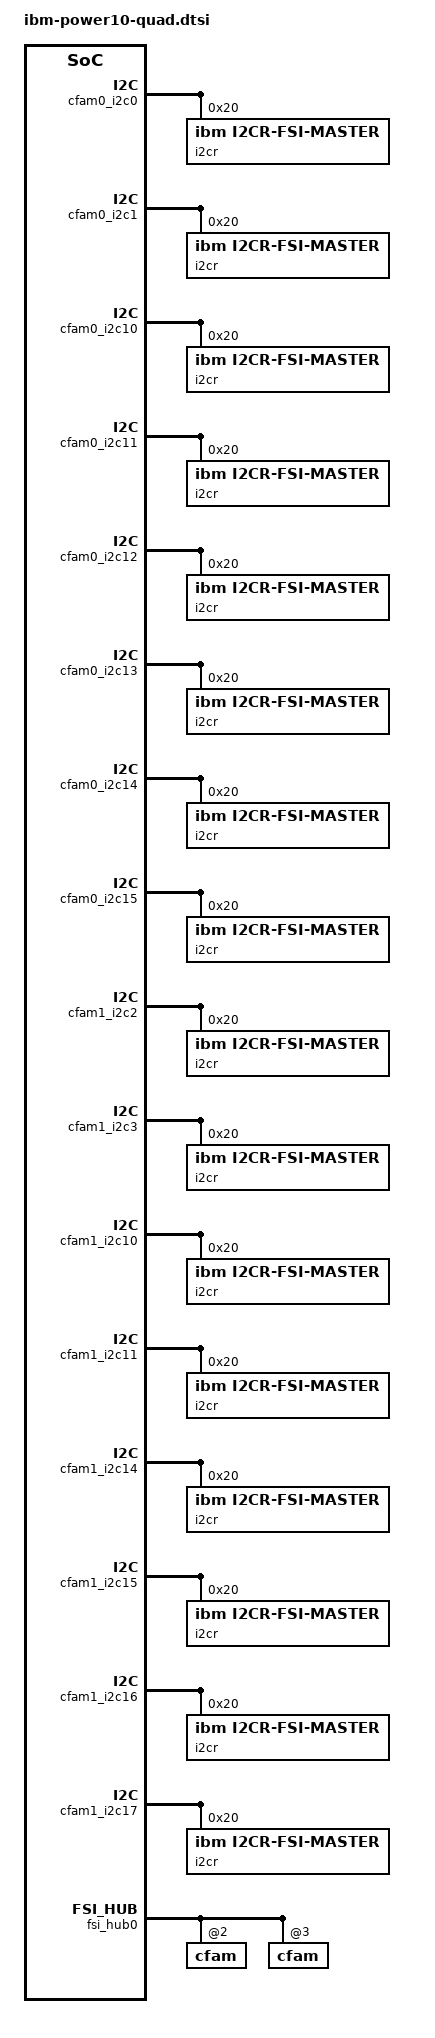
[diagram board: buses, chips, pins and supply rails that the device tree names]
// SPDX-License-Identifier: GPL-2.0-or-later
// Copyright 2023 IBM Corp.

#include "ibm-power10-dual.dtsi"

&cfam0_i2c0 {
	i2cr@20 {
		compatible = "ibm,i2cr-fsi-master";
		reg = <0x20>;
		#address-cells = <2>;
		#size-cells = <0>;

		cfam@0,0 {
			reg = <0 0>;
			#address-cells = <1>;
			#size-cells = <1>;
			chip-id = <0>;

			scom100: scom@1000 {
				compatible = "ibm,i2cr-scom";
				reg = <0x1000 0x400>;
			};

			sbefifo100: sbefifo@2400 {
				compatible = "ibm,p9-sbefifo";
				reg = <0x2400 0x400>;
				#address-cells = <1>;
				#size-cells = <0>;
			};
		};
	};
};

&cfam0_i2c1 {
	i2cr@20 {
		compatible = "ibm,i2cr-fsi-master";
		reg = <0x20>;
		#address-cells = <2>;
		#size-cells = <0>;

		cfam@0,0 {
			reg = <0 0>;
			#address-cells = <1>;
			#size-cells = <1>;
			chip-id = <0>;

			scom101: scom@1000 {
				compatible = "ibm,i2cr-scom";
				reg = <0x1000 0x400>;
			};

			sbefifo101: sbefifo@2400 {
				compatible = "ibm,p9-sbefifo";
				reg = <0x2400 0x400>;
				#address-cells = <1>;
				#size-cells = <0>;
			};
		};
	};
};

&cfam0_i2c10 {
	i2cr@20 {
		compatible = "ibm,i2cr-fsi-master";
		reg = <0x20>;
		#address-cells = <2>;
		#size-cells = <0>;

		cfam@0,0 {
			reg = <0 0>;
			#address-cells = <1>;
			#size-cells = <1>;
			chip-id = <0>;

			scom110: scom@1000 {
				compatible = "ibm,i2cr-scom";
				reg = <0x1000 0x400>;
			};

			sbefifo110: sbefifo@2400 {
				compatible = "ibm,p9-sbefifo";
				reg = <0x2400 0x400>;
				#address-cells = <1>;
				#size-cells = <0>;
			};
		};
	};
};

&cfam0_i2c11 {
	i2cr@20 {
		compatible = "ibm,i2cr-fsi-master";
		reg = <0x20>;
		#address-cells = <2>;
		#size-cells = <0>;

		cfam@0,0 {
			reg = <0 0>;
			#address-cells = <1>;
			#size-cells = <1>;
			chip-id = <0>;

			scom111: scom@1000 {
				compatible = "ibm,i2cr-scom";
				reg = <0x1000 0x400>;
			};

			sbefifo111: sbefifo@2400 {
				compatible = "ibm,p9-sbefifo";
				reg = <0x2400 0x400>;
				#address-cells = <1>;
				#size-cells = <0>;
			};
		};
	};
};

&cfam0_i2c12 {
	i2cr@20 {
		compatible = "ibm,i2cr-fsi-master";
		reg = <0x20>;
		#address-cells = <2>;
		#size-cells = <0>;

		cfam@0,0 {
			reg = <0 0>;
			#address-cells = <1>;
			#size-cells = <1>;
			chip-id = <0>;

			scom112: scom@1000 {
				compatible = "ibm,i2cr-scom";
				reg = <0x1000 0x400>;
			};

			sbefifo112: sbefifo@2400 {
				compatible = "ibm,p9-sbefifo";
				reg = <0x2400 0x400>;
				#address-cells = <1>;
				#size-cells = <0>;
			};
		};
	};
};

&cfam0_i2c13 {
	i2cr@20 {
		compatible = "ibm,i2cr-fsi-master";
		reg = <0x20>;
		#address-cells = <2>;
		#size-cells = <0>;

		cfam@0,0 {
			reg = <0 0>;
			#address-cells = <1>;
			#size-cells = <1>;
			chip-id = <0>;

			scom113: scom@1000 {
				compatible = "ibm,i2cr-scom";
				reg = <0x1000 0x400>;
			};

			sbefifo113: sbefifo@2400 {
				compatible = "ibm,p9-sbefifo";
				reg = <0x2400 0x400>;
				#address-cells = <1>;
				#size-cells = <0>;
			};
		};
	};
};

&cfam0_i2c14 {
	i2cr@20 {
		compatible = "ibm,i2cr-fsi-master";
		reg = <0x20>;
		#address-cells = <2>;
		#size-cells = <0>;

		cfam@0,0 {
			reg = <0 0>;
			#address-cells = <1>;
			#size-cells = <1>;
			chip-id = <0>;

			scom114: scom@1000 {
				compatible = "ibm,i2cr-scom";
				reg = <0x1000 0x400>;
			};

			sbefifo114: sbefifo@2400 {
				compatible = "ibm,p9-sbefifo";
				reg = <0x2400 0x400>;
				#address-cells = <1>;
				#size-cells = <0>;
			};
		};
	};
};

&cfam0_i2c15 {
	i2cr@20 {
		compatible = "ibm,i2cr-fsi-master";
		reg = <0x20>;
		#address-cells = <2>;
		#size-cells = <0>;

		cfam@0,0 {
			reg = <0 0>;
			#address-cells = <1>;
			#size-cells = <1>;
			chip-id = <0>;

			scom115: scom@1000 {
				compatible = "ibm,i2cr-scom";
				reg = <0x1000 0x400>;
			};

			sbefifo115: sbefifo@2400 {
				compatible = "ibm,p9-sbefifo";
				reg = <0x2400 0x400>;
				#address-cells = <1>;
				#size-cells = <0>;
			};
		};
	};
};

&cfam1_i2c2 {
	i2cr@20 {
		compatible = "ibm,i2cr-fsi-master";
		reg = <0x20>;
		#address-cells = <2>;
		#size-cells = <0>;

		cfam@0,0 {
			reg = <0 0>;
			#address-cells = <1>;
			#size-cells = <1>;
			chip-id = <0>;

			scom202: scom@1000 {
				compatible = "ibm,i2cr-scom";
				reg = <0x1000 0x400>;
			};

			sbefifo202: sbefifo@2400 {
				compatible = "ibm,p9-sbefifo";
				reg = <0x2400 0x400>;
				#address-cells = <1>;
				#size-cells = <0>;
			};
		};
	};
};

&cfam1_i2c3 {
	i2cr@20 {
		compatible = "ibm,i2cr-fsi-master";
		reg = <0x20>;
		#address-cells = <2>;
		#size-cells = <0>;

		cfam@0,0 {
			reg = <0 0>;
			#address-cells = <1>;
			#size-cells = <1>;
			chip-id = <0>;

			scom203: scom@1000 {
				compatible = "ibm,i2cr-scom";
				reg = <0x1000 0x400>;
			};

			sbefifo203: sbefifo@2400 {
				compatible = "ibm,p9-sbefifo";
				reg = <0x2400 0x400>;
				#address-cells = <1>;
				#size-cells = <0>;
			};
		};
	};
};

&cfam1_i2c10 {
	i2cr@20 {
		compatible = "ibm,i2cr-fsi-master";
		reg = <0x20>;
		#address-cells = <2>;
		#size-cells = <0>;

		cfam@0,0 {
			reg = <0 0>;
			#address-cells = <1>;
			#size-cells = <1>;
			chip-id = <0>;

			scom210: scom@1000 {
				compatible = "ibm,i2cr-scom";
				reg = <0x1000 0x400>;
			};

			sbefifo210: sbefifo@2400 {
				compatible = "ibm,p9-sbefifo";
				reg = <0x2400 0x400>;
				#address-cells = <1>;
				#size-cells = <0>;
			};
		};
	};
};

&cfam1_i2c11 {
	i2cr@20 {
		compatible = "ibm,i2cr-fsi-master";
		reg = <0x20>;
		#address-cells = <2>;
		#size-cells = <0>;

		cfam@0,0 {
			reg = <0 0>;
			#address-cells = <1>;
			#size-cells = <1>;
			chip-id = <0>;

			scom211: scom@1000 {
				compatible = "ibm,i2cr-scom";
				reg = <0x1000 0x400>;
			};

			sbefifo211: sbefifo@2400 {
				compatible = "ibm,p9-sbefifo";
				reg = <0x2400 0x400>;
				#address-cells = <1>;
				#size-cells = <0>;
			};
		};
	};
};

&cfam1_i2c14 {
	i2cr@20 {
		compatible = "ibm,i2cr-fsi-master";
		reg = <0x20>;
		#address-cells = <2>;
		#size-cells = <0>;

		cfam@0,0 {
			reg = <0 0>;
			#address-cells = <1>;
			#size-cells = <1>;
			chip-id = <0>;

			scom214: scom@1000 {
				compatible = "ibm,i2cr-scom";
				reg = <0x1000 0x400>;
			};

			sbefifo214: sbefifo@2400 {
				compatible = "ibm,p9-sbefifo";
				reg = <0x2400 0x400>;
				#address-cells = <1>;
				#size-cells = <0>;
			};
		};
	};
};

&cfam1_i2c15 {
	i2cr@20 {
		compatible = "ibm,i2cr-fsi-master";
		reg = <0x20>;
		#address-cells = <2>;
		#size-cells = <0>;

		cfam@0,0 {
			reg = <0 0>;
			#address-cells = <1>;
			#size-cells = <1>;
			chip-id = <0>;

			scom215: scom@1000 {
				compatible = "ibm,i2cr-scom";
				reg = <0x1000 0x400>;
			};

			sbefifo215: sbefifo@2400 {
				compatible = "ibm,p9-sbefifo";
				reg = <0x2400 0x400>;
				#address-cells = <1>;
				#size-cells = <0>;
			};
		};
	};
};

&cfam1_i2c16 {
	i2cr@20 {
		compatible = "ibm,i2cr-fsi-master";
		reg = <0x20>;
		#address-cells = <2>;
		#size-cells = <0>;

		cfam@0,0 {
			reg = <0 0>;
			#address-cells = <1>;
			#size-cells = <1>;
			chip-id = <0>;

			scom216: scom@1000 {
				compatible = "ibm,i2cr-scom";
				reg = <0x1000 0x400>;
			};

			sbefifo216: sbefifo@2400 {
				compatible = "ibm,p9-sbefifo";
				reg = <0x2400 0x400>;
				#address-cells = <1>;
				#size-cells = <0>;
			};
		};
	};
};

&cfam1_i2c17 {
	i2cr@20 {
		compatible = "ibm,i2cr-fsi-master";
		reg = <0x20>;
		#address-cells = <2>;
		#size-cells = <0>;

		cfam@0,0 {
			reg = <0 0>;
			#address-cells = <1>;
			#size-cells = <1>;
			chip-id = <0>;

			scom217: scom@1000 {
				compatible = "ibm,i2cr-scom";
				reg = <0x1000 0x400>;
			};

			sbefifo217: sbefifo@2400 {
				compatible = "ibm,p9-sbefifo";
				reg = <0x2400 0x400>;
				#address-cells = <1>;
				#size-cells = <0>;
			};
		};
	};
};

&fsi_hub0 {
	cfam@2,0 {
		reg = <2 0>;
		#address-cells = <1>;
		#size-cells = <1>;
		chip-id = <2>;

		scom@1000 {
			compatible = "ibm,fsi2pib";
			reg = <0x1000 0x400>;
		};

		i2c@1800 {
			compatible = "ibm,fsi-i2c-master";
			reg = <0x1800 0x400>;
			#address-cells = <1>;
			#size-cells = <0>;

			cfam2_i2c0: i2c-bus@0 {
				#address-cells = <1>;
				#size-cells = <0>;
				reg = <0>;	/* OM01 */

				i2cr@20 {
					compatible = "ibm,i2cr-fsi-master";
					reg = <0x20>;
					#address-cells = <2>;
					#size-cells = <0>;

					cfam@0,0 {
						reg = <0 0>;
						#address-cells = <1>;
						#size-cells = <1>;
						chip-id = <0>;

						scom300: scom@1000 {
							compatible = "ibm,i2cr-scom";
							reg = <0x1000 0x400>;
						};

						sbefifo300: sbefifo@2400 {
							compatible = "ibm,p9-sbefifo";
							reg = <0x2400 0x400>;
							#address-cells = <1>;
							#size-cells = <0>;
						};
					};
				};
			};

			cfam2_i2c1: i2c-bus@1 {
				#address-cells = <1>;
				#size-cells = <0>;
				reg = <1>;	/* OM23 */

				i2cr@20 {
					compatible = "ibm,i2cr-fsi-master";
					reg = <0x20>;
					#address-cells = <2>;
					#size-cells = <0>;

					cfam@0,0 {
						reg = <0 0>;
						#address-cells = <1>;
						#size-cells = <1>;
						chip-id = <0>;

						scom301: scom@1000 {
							compatible = "ibm,i2cr-scom";
							reg = <0x1000 0x400>;
						};

						sbefifo301: sbefifo@2400 {
							compatible = "ibm,p9-sbefifo";
							reg = <0x2400 0x400>;
							#address-cells = <1>;
							#size-cells = <0>;
						};
					};
				};
			};

			cfam2_i2c10: i2c-bus@a {
				#address-cells = <1>;
				#size-cells = <0>;
				reg = <10>;	/* OP3A */

				i2cr@20 {
					compatible = "ibm,i2cr-fsi-master";
					reg = <0x20>;
					#address-cells = <2>;
					#size-cells = <0>;

					cfam@0,0 {
						reg = <0 0>;
						#address-cells = <1>;
						#size-cells = <1>;
						chip-id = <0>;

						scom310: scom@1000 {
							compatible = "ibm,i2cr-scom";
							reg = <0x1000 0x400>;
						};

						sbefifo310: sbefifo@2400 {
							compatible = "ibm,p9-sbefifo";
							reg = <0x2400 0x400>;
							#address-cells = <1>;
							#size-cells = <0>;
						};
					};
				};
			};

			cfam2_i2c11: i2c-bus@b {
				#address-cells = <1>;
				#size-cells = <0>;
				reg = <11>;	/* OP3B */

				i2cr@20 {
					compatible = "ibm,i2cr-fsi-master";
					reg = <0x20>;
					#address-cells = <2>;
					#size-cells = <0>;

					cfam@0,0 {
						reg = <0 0>;
						#address-cells = <1>;
						#size-cells = <1>;
						chip-id = <0>;

						scom311: scom@1000 {
							compatible = "ibm,i2cr-scom";
							reg = <0x1000 0x400>;
						};

						sbefifo311: sbefifo@2400 {
							compatible = "ibm,p9-sbefifo";
							reg = <0x2400 0x400>;
							#address-cells = <1>;
							#size-cells = <0>;
						};
					};
				};
			};

			cfam2_i2c12: i2c-bus@c {
				#address-cells = <1>;
				#size-cells = <0>;
				reg = <12>;	/* OP4A */

				i2cr@20 {
					compatible = "ibm,i2cr-fsi-master";
					reg = <0x20>;
					#address-cells = <2>;
					#size-cells = <0>;

					cfam@0,0 {
						reg = <0 0>;
						#address-cells = <1>;
						#size-cells = <1>;
						chip-id = <0>;

						scom312: scom@1000 {
							compatible = "ibm,i2cr-scom";
							reg = <0x1000 0x400>;
						};

						sbefifo312: sbefifo@2400 {
							compatible = "ibm,p9-sbefifo";
							reg = <0x2400 0x400>;
							#address-cells = <1>;
							#size-cells = <0>;
						};
					};
				};
			};

			cfam2_i2c13: i2c-bus@d {
				#address-cells = <1>;
				#size-cells = <0>;
				reg = <13>;	/* OP4B */

				i2cr@20 {
					compatible = "ibm,i2cr-fsi-master";
					reg = <0x20>;
					#address-cells = <2>;
					#size-cells = <0>;

					cfam@0,0 {
						reg = <0 0>;
						#address-cells = <1>;
						#size-cells = <1>;
						chip-id = <0>;

						scom313: scom@1000 {
							compatible = "ibm,i2cr-scom";
							reg = <0x1000 0x400>;
						};

						sbefifo313: sbefifo@2400 {
							compatible = "ibm,p9-sbefifo";
							reg = <0x2400 0x400>;
							#address-cells = <1>;
							#size-cells = <0>;
						};
					};
				};
			};

			cfam2_i2c14: i2c-bus@e {
				#address-cells = <1>;
				#size-cells = <0>;
				reg = <14>;	/* OP5A */

				i2cr@20 {
					compatible = "ibm,i2cr-fsi-master";
					reg = <0x20>;
					#address-cells = <2>;
					#size-cells = <0>;

					cfam@0,0 {
						reg = <0 0>;
						#address-cells = <1>;
						#size-cells = <1>;
						chip-id = <0>;

						scom314: scom@1000 {
							compatible = "ibm,i2cr-scom";
							reg = <0x1000 0x400>;
						};

						sbefifo314: sbefifo@2400 {
							compatible = "ibm,p9-sbefifo";
							reg = <0x2400 0x400>;
							#address-cells = <1>;
							#size-cells = <0>;
						};
					};
				};
			};

			cfam2_i2c15: i2c-bus@f {
				#address-cells = <1>;
				#size-cells = <0>;
				reg = <15>;	/* OP5B */

				i2cr@20 {
					compatible = "ibm,i2cr-fsi-master";
					reg = <0x20>;
					#address-cells = <2>;
					#size-cells = <0>;

					cfam@0,0 {
						reg = <0 0>;
						#address-cells = <1>;
						#size-cells = <1>;
						chip-id = <0>;

						scom315: scom@1000 {
							compatible = "ibm,i2cr-scom";
							reg = <0x1000 0x400>;
						};

						sbefifo315: sbefifo@2400 {
							compatible = "ibm,p9-sbefifo";
							reg = <0x2400 0x400>;
							#address-cells = <1>;
							#size-cells = <0>;
						};
					};
				};
			};
		};

		fsi2spi@1c00 {
			compatible = "ibm,fsi2spi";
			reg = <0x1c00 0x400>;
			#address-cells = <1>;
			#size-cells = <0>;

			cfam2_spi0: spi@0 {
				reg = <0x0>;
				#address-cells = <1>;
				#size-cells = <0>;

				eeprom@0 {
					at25,byte-len = <0x80000>;
					at25,addr-mode = <4>;
					at25,page-size = <256>;

					compatible = "atmel,at25";
					reg = <0>;
					spi-max-frequency = <1000000>;
				};
			};

			cfam2_spi1: spi@20 {
				reg = <0x20>;
				#address-cells = <1>;
				#size-cells = <0>;

				eeprom@0 {
					at25,byte-len = <0x80000>;
					at25,addr-mode = <4>;
					at25,page-size = <256>;

					compatible = "atmel,at25";
					reg = <0>;
					spi-max-frequency = <1000000>;
				};
			};

			cfam2_spi2: spi@40 {
				reg = <0x40>;
				compatible =  "ibm,fsi2spi";
				#address-cells = <1>;
				#size-cells = <0>;

				eeprom@0 {
					at25,byte-len = <0x80000>;
					at25,addr-mode = <4>;
					at25,page-size = <256>;

					compatible = "atmel,at25";
					reg = <0>;
					spi-max-frequency = <1000000>;
				};
			};

			cfam2_spi3: spi@60 {
				reg = <0x60>;
				compatible =  "ibm,fsi2spi";
				#address-cells = <1>;
				#size-cells = <0>;

				eeprom@0 {
					at25,byte-len = <0x80000>;
					at25,addr-mode = <4>;
					at25,page-size = <256>;

					compatible = "atmel,at25";
					reg = <0>;
					spi-max-frequency = <1000000>;
				};
			};
		};

		sbefifo@2400 {
			compatible = "ibm,p9-sbefifo";
			reg = <0x2400 0x400>;
			#address-cells = <1>;
			#size-cells = <0>;

			fsi_occ2: occ {
				compatible = "ibm,p10-occ";

				occ-hwmon {
					compatible = "ibm,p10-occ-hwmon";
					ibm,no-poll-on-init;
				};
			};
		};

		fsi_hub2: hub@3400 {
			compatible = "fsi-master-hub";
			reg = <0x3400 0x400>;
			#address-cells = <2>;
			#size-cells = <0>;

			no-scan-on-init;
		};
	};

	cfam@3,0 {
		reg = <3 0>;
		#address-cells = <1>;
		#size-cells = <1>;
		chip-id = <3>;

		scom@1000 {
			compatible = "ibm,fsi2pib";
			reg = <0x1000 0x400>;
		};

		i2c@1800 {
			compatible = "ibm,fsi-i2c-master";
			reg = <0x1800 0x400>;
			#address-cells = <1>;
			#size-cells = <0>;

			cfam3_i2c2: i2c-bus@2 {
				#address-cells = <1>;
				#size-cells = <0>;
				reg = <2>;	/* OM45 */

				i2cr@20 {
					compatible = "ibm,i2cr-fsi-master";
					reg = <0x20>;
					#address-cells = <2>;
					#size-cells = <0>;

					cfam@0,0 {
						reg = <0 0>;
						#address-cells = <1>;
						#size-cells = <1>;
						chip-id = <0>;

						scom402: scom@1000 {
							compatible = "ibm,i2cr-scom";
							reg = <0x1000 0x400>;
						};

						sbefifo402: sbefifo@2400 {
							compatible = "ibm,p9-sbefifo";
							reg = <0x2400 0x400>;
							#address-cells = <1>;
							#size-cells = <0>;
						};
					};
				};
			};

			cfam3_i2c3: i2c-bus@3 {
				#address-cells = <1>;
				#size-cells = <0>;
				reg = <3>;	/* OM67 */

				i2cr@20 {
					compatible = "ibm,i2cr-fsi-master";
					reg = <0x20>;
					#address-cells = <2>;
					#size-cells = <0>;

					cfam@0,0 {
						reg = <0 0>;
						#address-cells = <1>;
						#size-cells = <1>;
						chip-id = <0>;

						scom403: scom@1000 {
							compatible = "ibm,i2cr-scom";
							reg = <0x1000 0x400>;
						};

						sbefifo403: sbefifo@2400 {
							compatible = "ibm,p9-sbefifo";
							reg = <0x2400 0x400>;
							#address-cells = <1>;
							#size-cells = <0>;
						};
					};
				};
			};

			cfam3_i2c10: i2c-bus@a {
				#address-cells = <1>;
				#size-cells = <0>;
				reg = <10>;	/* OP3A */

				i2cr@20 {
					compatible = "ibm,i2cr-fsi-master";
					reg = <0x20>;
					#address-cells = <2>;
					#size-cells = <0>;

					cfam@0,0 {
						reg = <0 0>;
						#address-cells = <1>;
						#size-cells = <1>;
						chip-id = <0>;

						scom410: scom@1000 {
							compatible = "ibm,i2cr-scom";
							reg = <0x1000 0x400>;
						};

						sbefifo410: sbefifo@2400 {
							compatible = "ibm,p9-sbefifo";
							reg = <0x2400 0x400>;
							#address-cells = <1>;
							#size-cells = <0>;
						};
					};
				};
			};

			cfam3_i2c11: i2c-bus@b {
				#address-cells = <1>;
				#size-cells = <0>;
				reg = <11>;	/* OP3B */

				i2cr@20 {
					compatible = "ibm,i2cr-fsi-master";
					reg = <0x20>;
					#address-cells = <2>;
					#size-cells = <0>;

					cfam@0,0 {
						reg = <0 0>;
						#address-cells = <1>;
						#size-cells = <1>;
						chip-id = <0>;

						scom411: scom@1000 {
							compatible = "ibm,i2cr-scom";
							reg = <0x1000 0x400>;
						};

						sbefifo411: sbefifo@2400 {
							compatible = "ibm,p9-sbefifo";
							reg = <0x2400 0x400>;
							#address-cells = <1>;
							#size-cells = <0>;
						};
					};
				};
			};

			cfam3_i2c14: i2c-bus@e {
				#address-cells = <1>;
				#size-cells = <0>;
				reg = <14>;	/* OP5A */

				i2cr@20 {
					compatible = "ibm,i2cr-fsi-master";
					reg = <0x20>;
					#address-cells = <2>;
					#size-cells = <0>;

					cfam@0,0 {
						reg = <0 0>;
						#address-cells = <1>;
						#size-cells = <1>;
						chip-id = <0>;

						scom414: scom@1000 {
							compatible = "ibm,i2cr-scom";
							reg = <0x1000 0x400>;
						};

						sbefifo414: sbefifo@2400 {
							compatible = "ibm,p9-sbefifo";
							reg = <0x2400 0x400>;
							#address-cells = <1>;
							#size-cells = <0>;
						};
					};
				};
			};

			cfam3_i2c15: i2c-bus@f {
				#address-cells = <1>;
				#size-cells = <0>;
				reg = <15>;	/* OP5B */

				i2cr@20 {
					compatible = "ibm,i2cr-fsi-master";
					reg = <0x20>;
					#address-cells = <2>;
					#size-cells = <0>;

					cfam@0,0 {
						reg = <0 0>;
						#address-cells = <1>;
						#size-cells = <1>;
						chip-id = <0>;

						scom415: scom@1000 {
							compatible = "ibm,i2cr-scom";
							reg = <0x1000 0x400>;
						};

						sbefifo415: sbefifo@2400 {
							compatible = "ibm,p9-sbefifo";
							reg = <0x2400 0x400>;
							#address-cells = <1>;
							#size-cells = <0>;
						};
					};
				};
			};

			cfam3_i2c16: i2c-bus@10 {
				#address-cells = <1>;
				#size-cells = <0>;
				reg = <16>;	/* OP6A */

				i2cr@20 {
					compatible = "ibm,i2cr-fsi-master";
					reg = <0x20>;
					#address-cells = <2>;
					#size-cells = <0>;

					cfam@0,0 {
						reg = <0 0>;
						#address-cells = <1>;
						#size-cells = <1>;
						chip-id = <0>;

						scom416: scom@1000 {
							compatible = "ibm,i2cr-scom";
							reg = <0x1000 0x400>;
						};

						sbefifo416: sbefifo@2400 {
							compatible = "ibm,p9-sbefifo";
							reg = <0x2400 0x400>;
							#address-cells = <1>;
							#size-cells = <0>;
						};
					};
				};
			};

			cfam3_i2c17: i2c-bus@11 {
				#address-cells = <1>;
				#size-cells = <0>;
				reg = <17>;	/* OP6B */

				i2cr@20 {
					compatible = "ibm,i2cr-fsi-master";
					reg = <0x20>;
					#address-cells = <2>;
					#size-cells = <0>;

					cfam@0,0 {
						reg = <0 0>;
						#address-cells = <1>;
						#size-cells = <1>;
						chip-id = <0>;

						scom417: scom@1000 {
							compatible = "ibm,i2cr-scom";
							reg = <0x1000 0x400>;
						};

						sbefifo417: sbefifo@2400 {
							compatible = "ibm,p9-sbefifo";
							reg = <0x2400 0x400>;
							#address-cells = <1>;
							#size-cells = <0>;
						};
					};
				};
			};
		};

		fsi2spi@1c00 {
			compatible = "ibm,fsi2spi";
			reg = <0x1c00 0x400>;
			#address-cells = <1>;
			#size-cells = <0>;

			cfam3_spi0: spi@0 {
				reg = <0x0>;
				#address-cells = <1>;
				#size-cells = <0>;

				eeprom@0 {
					at25,byte-len = <0x80000>;
					at25,addr-mode = <4>;
					at25,page-size = <256>;

					compatible = "atmel,at25";
					reg = <0>;
					spi-max-frequency = <1000000>;
				};
			};

			cfam3_spi1: spi@20 {
				reg = <0x20>;
				#address-cells = <1>;
				#size-cells = <0>;

				eeprom@0 {
					at25,byte-len = <0x80000>;
					at25,addr-mode = <4>;
					at25,page-size = <256>;

					compatible = "atmel,at25";
					reg = <0>;
					spi-max-frequency = <1000000>;
				};
			};

			cfam3_spi2: spi@40 {
				reg = <0x40>;
				compatible =  "ibm,fsi2spi";
				#address-cells = <1>;
				#size-cells = <0>;

				eeprom@0 {
					at25,byte-len = <0x80000>;
					at25,addr-mode = <4>;
					at25,page-size = <256>;

					compatible = "atmel,at25";
					reg = <0>;
					spi-max-frequency = <1000000>;
				};
			};

			cfam3_spi3: spi@60 {
				reg = <0x60>;
				compatible =  "ibm,fsi2spi";
				#address-cells = <1>;
				#size-cells = <0>;

				eeprom@0 {
					at25,byte-len = <0x80000>;
					at25,addr-mode = <4>;
					at25,page-size = <256>;

					compatible = "atmel,at25";
					reg = <0>;
					spi-max-frequency = <1000000>;
				};
			};
		};

		sbefifo@2400 {
			compatible = "ibm,p9-sbefifo";
			reg = <0x2400 0x400>;
			#address-cells = <1>;
			#size-cells = <0>;

			fsi_occ3: occ {
				compatible = "ibm,p10-occ";

				occ-hwmon {
					compatible = "ibm,p10-occ-hwmon";
					ibm,no-poll-on-init;
				};
			};
		};

		fsi_hub3: hub@3400 {
			compatible = "fsi-master-hub";
			reg = <0x3400 0x400>;
			#address-cells = <2>;
			#size-cells = <0>;

			no-scan-on-init;
		};
	};
};

/* Legacy OCC numbering (to get rid of when userspace is fixed) */
&fsi_occ2 {
	reg = <3>;
};

&fsi_occ3 {
	reg = <4>;
};

/ {
	aliases {
		i2c300 = &cfam2_i2c0;
		i2c301 = &cfam2_i2c1;
		i2c310 = &cfam2_i2c10;
		i2c311 = &cfam2_i2c11;
		i2c312 = &cfam2_i2c12;
		i2c313 = &cfam2_i2c13;
		i2c314 = &cfam2_i2c14;
		i2c315 = &cfam2_i2c15;
		i2c402 = &cfam3_i2c2;
		i2c403 = &cfam3_i2c3;
		i2c410 = &cfam3_i2c10;
		i2c411 = &cfam3_i2c11;
		i2c414 = &cfam3_i2c14;
		i2c415 = &cfam3_i2c15;
		i2c416 = &cfam3_i2c16;
		i2c417 = &cfam3_i2c17;

		sbefifo100 = &sbefifo100;
		sbefifo101 = &sbefifo101;
		sbefifo110 = &sbefifo110;
		sbefifo111 = &sbefifo111;
		sbefifo112 = &sbefifo112;
		sbefifo113 = &sbefifo113;
		sbefifo114 = &sbefifo114;
		sbefifo115 = &sbefifo115;
		sbefifo202 = &sbefifo202;
		sbefifo203 = &sbefifo203;
		sbefifo210 = &sbefifo210;
		sbefifo211 = &sbefifo211;
		sbefifo214 = &sbefifo214;
		sbefifo215 = &sbefifo215;
		sbefifo216 = &sbefifo216;
		sbefifo217 = &sbefifo217;
		sbefifo300 = &sbefifo300;
		sbefifo301 = &sbefifo301;
		sbefifo310 = &sbefifo310;
		sbefifo311 = &sbefifo311;
		sbefifo312 = &sbefifo312;
		sbefifo313 = &sbefifo313;
		sbefifo314 = &sbefifo314;
		sbefifo315 = &sbefifo315;
		sbefifo402 = &sbefifo402;
		sbefifo403 = &sbefifo403;
		sbefifo410 = &sbefifo410;
		sbefifo411 = &sbefifo411;
		sbefifo414 = &sbefifo414;
		sbefifo415 = &sbefifo415;
		sbefifo416 = &sbefifo416;
		sbefifo417 = &sbefifo417;

		scom100 = &scom100;
		scom101 = &scom101;
		scom110 = &scom110;
		scom111 = &scom111;
		scom112 = &scom112;
		scom113 = &scom113;
		scom114 = &scom114;
		scom115 = &scom115;
		scom202 = &scom202;
		scom203 = &scom203;
		scom210 = &scom210;
		scom211 = &scom211;
		scom214 = &scom214;
		scom215 = &scom215;
		scom216 = &scom216;
		scom217 = &scom217;
		scom300 = &scom300;
		scom301 = &scom301;
		scom310 = &scom310;
		scom311 = &scom311;
		scom312 = &scom312;
		scom313 = &scom313;
		scom314 = &scom314;
		scom315 = &scom315;
		scom402 = &scom402;
		scom403 = &scom403;
		scom410 = &scom410;
		scom411 = &scom411;
		scom414 = &scom414;
		scom415 = &scom415;
		scom416 = &scom416;
		scom417 = &scom417;

		spi30 = &cfam2_spi0;
		spi31 = &cfam2_spi1;
		spi32 = &cfam2_spi2;
		spi33 = &cfam2_spi3;
		spi40 = &cfam3_spi0;
		spi41 = &cfam3_spi1;
		spi42 = &cfam3_spi2;
		spi43 = &cfam3_spi3;
	};
};
